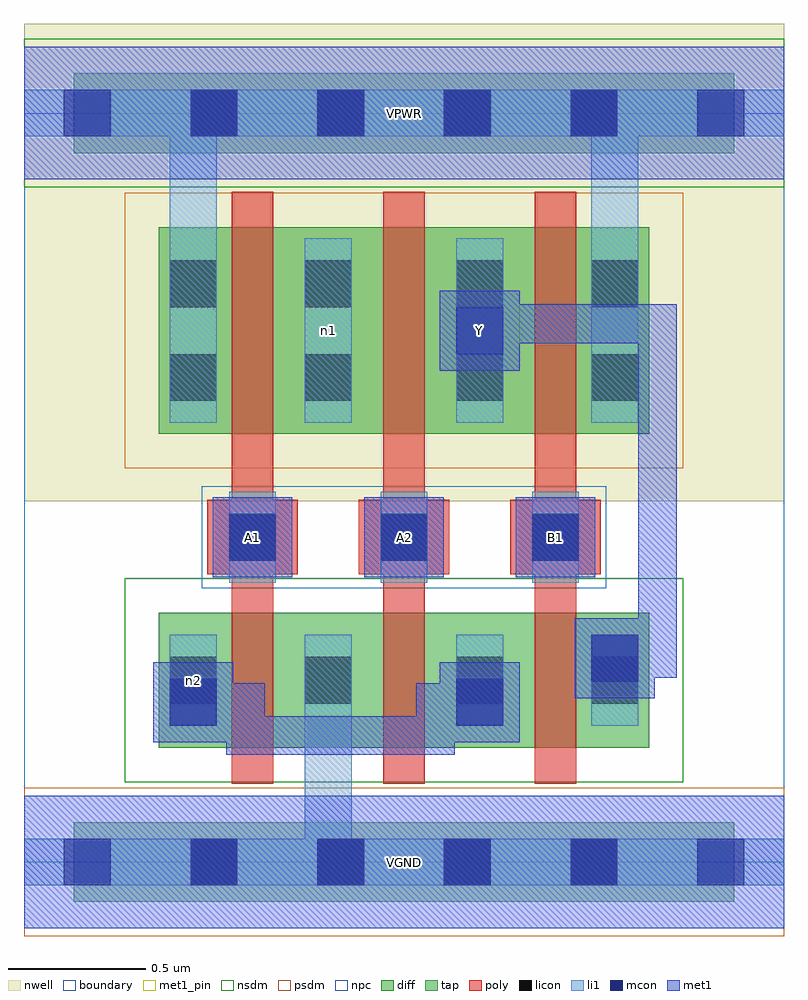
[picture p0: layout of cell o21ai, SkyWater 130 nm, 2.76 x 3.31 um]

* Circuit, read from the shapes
.subckt o21ai A1 A2 B1 VGND VPWR Y n1 n2
XM1 VGND A1 n2 VGND sky130_fd_pr__nfet_01v8 w=0.49 l=0.15
XM2 n2 A2 VGND VGND sky130_fd_pr__nfet_01v8 w=0.49 l=0.15
XM3 Y B1 n2 VGND sky130_fd_pr__nfet_01v8 w=0.49 l=0.15
XM4 n1 A1 VPWR VPWR sky130_fd_pr__pfet_01v8 w=0.75 l=0.15
XM5 Y A2 n1 VPWR sky130_fd_pr__pfet_01v8 w=0.75 l=0.15
XM6 VPWR B1 Y VPWR sky130_fd_pr__pfet_01v8 w=0.75 l=0.15
.ends

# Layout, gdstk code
import gdstk
lib = gdstk.Library(unit=1e-6, precision=1e-09)
def R(c, l, rs):  # rectangles x0, y0, x1, y1
    for r in rs: c.add(gdstk.rectangle(r[:2], r[2:], *l))
def A(c, l, x, y, w, h, nx, ny, dx, dy):  # array of equal rectangles
    R(c, l, [(x+i*dx, y+j*dy, x+i*dx+w, y+j*dy+h) for i in range(nx) for j in range(ny)])
nwell = (64, 20)
diff = (65, 20)
tap = (65, 44)
poly = (66, 20)
licon = (66, 44)
li1 = (67, 20)
mcon = (67, 44)
met1_pin = (68, 16)
met1 = (68, 20)
nsdm = (93, 44)
psdm = (94, 20)
npc = (95, 20)
boundary = (235, 4)

o21ai = lib.new_cell('o21ai')
R(o21ai, nwell, [(0,1.31,2.76,3.045)])
R(o21ai, diff, [(0.49,0.415,2.27,0.905), (0.49,1.555,2.27,2.305)])
R(o21ai, tap, [(0.18,-0.145,2.58,0.145), (0.18,2.575,2.58,2.865)])
A(o21ai, poly, 0.755, 0.285, 0.15, 2.15, 3, 1, 0.55, 0)
A(o21ai, poly, 0.665, 1.045, 0.33, 0.27, 3, 1, 0.55, 0)
A(o21ai, licon, 0.605, -0.085, 0.17, 0.17, 4, 2, 0.46, 2.72)
A(o21ai, licon, 0.745, 1.095, 0.17, 0.17, 3, 1, 0.55, 0)
R(o21ai, licon, [(0.53,0.575,0.7,0.745), (1.02,0.575,1.19,0.745), (1.57,0.575,1.74,0.745), (2.06,0.575,2.23,0.745), (0.53,1.675,0.7,1.845), (1.02,1.675,1.19,1.845), (1.57,1.675,1.74,1.845), (2.06,1.675,2.23,1.845), (0.53,2.015,0.7,2.185), (1.02,2.015,1.19,2.185), (1.57,2.015,1.74,2.185), (2.06,2.015,2.23,2.185)])
A(o21ai, li1, 0.745, 1.015, 0.17, 0.33, 3, 1, 0.55, 0)
R(o21ai, li1, [(0,-0.085,2.76,0.085), (1.02,-0.085,1.19,0.825), (0.53,0.495,0.7,0.825), (1.02,0.495,1.19,0.825), (1.57,0.495,1.74,0.825), (2.06,0.495,2.23,0.825), (0.53,1.595,0.7,2.265), (0.53,1.595,0.7,2.805), (1.02,1.595,1.19,2.265), (1.57,1.595,1.74,2.265), (2.06,1.595,2.23,2.265), (2.06,1.595,2.23,2.805), (0,2.635,2.76,2.805)])
A(o21ai, mcon, 0.145, -0.085, 0.17, 0.17, 6, 2, 0.46, 2.72)
A(o21ai, mcon, 0.745, 1.095, 0.17, 0.17, 3, 1, 0.55, 0)
R(o21ai, mcon, [(0.53,0.495,0.7,0.665), (1.57,0.495,1.74,0.665), (2.06,0.655,2.23,0.825), (1.57,1.845,1.74,2.015)])
A(o21ai, met1_pin, 0.685, 1.035, 0.29, 0.29, 3, 1, 0.55, 0)
R(o21ai, met1_pin, [(0,-0.24,2.76,0.24), (1.51,1.785,1.8,2.075), (0,2.48,2.76,2.96)])
A(o21ai, met1, 0.685, 1.035, 0.29, 0.29, 3, 1, 0.55, 0)
R(o21ai, met1, [(0,-0.24,2.76,0.24), (0.735,0.39,0.875,0.65), (0.735,0.39,1.565,0.53), (1.425,0.39,1.565,0.65), (0.47,0.435,0.76,0.725), (1.51,0.435,1.8,0.725), (0.545,0.51,0.875,0.65), (1.425,0.51,1.725,0.65), (2,0.595,2.29,0.885), (2.075,0.67,2.37,0.81), (2.23,0.67,2.37,0.99), (2.23,0.85,2.37,2.025), (1.51,1.785,1.8,2.075), (1.655,1.885,1.795,2.025), (1.655,1.885,2.37,2.025), (0,2.48,2.76,2.96)])
R(o21ai, nsdm, [(0.365,0.29,2.395,1.03), (0,2.45,2.76,2.99)])
R(o21ai, psdm, [(0,-0.27,2.76,0.27), (0.365,1.43,2.395,2.43)])
R(o21ai, npc, [(0.645,0.995,2.115,1.365)])
R(o21ai, boundary, [(0,0,2.76,2.72)])
o21ai.add(gdstk.Label('n2', (0.615,0.66), layer=67, texttype=5))
o21ai.add(gdstk.Label('n1', (1.105,1.93), layer=67, texttype=5))
o21ai.add(gdstk.Label('A1', (0.83,1.18), layer=68, texttype=5))
o21ai.add(gdstk.Label('A2', (1.38,1.18), layer=68, texttype=5))
o21ai.add(gdstk.Label('B1', (1.93,1.18), layer=68, texttype=5))
o21ai.add(gdstk.Label('Y', (1.655,1.93), layer=68, texttype=5))
o21ai.add(gdstk.Label('VPWR', (1.38,2.72), layer=68, texttype=5))
o21ai.add(gdstk.Label('VGND', (1.38,0), layer=68, texttype=5))
o21ai.add(gdstk.Label('A1', (0.83,1.18), layer=68, texttype=16))
o21ai.add(gdstk.Label('A2', (1.38,1.18), layer=68, texttype=16))
o21ai.add(gdstk.Label('B1', (1.93,1.18), layer=68, texttype=16))
o21ai.add(gdstk.Label('Y', (1.655,1.93), layer=68, texttype=16))
o21ai.add(gdstk.Label('VPWR', (1.38,2.72), layer=68, texttype=16))
o21ai.add(gdstk.Label('VGND', (1.38,0), layer=68, texttype=16))

lib.write_gds('o21ai.gds')
